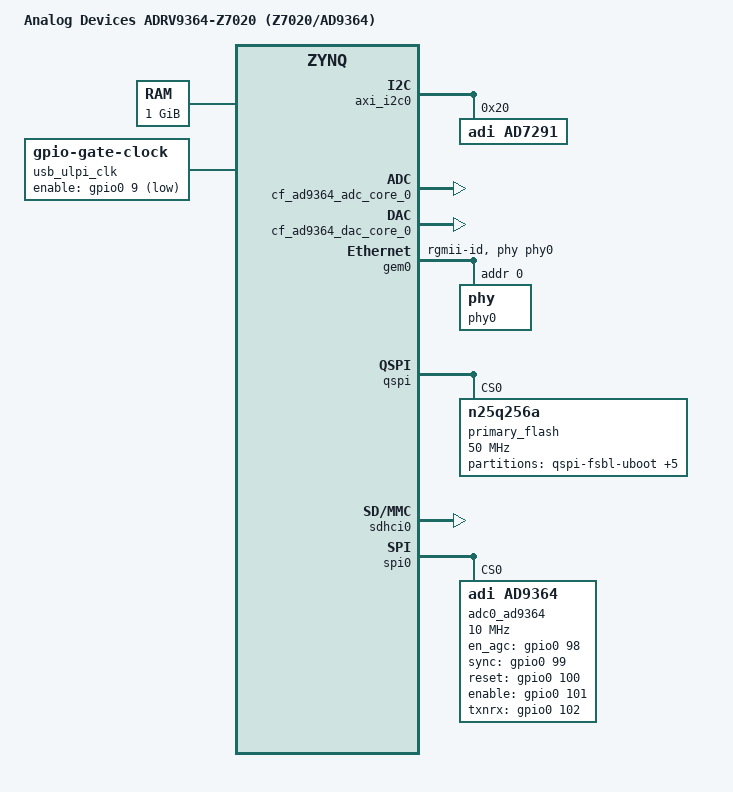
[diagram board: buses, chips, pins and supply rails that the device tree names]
/*
 * Analog Devices ADRV9364-Z7020 board DTS (Z7020/AD9364 SOM)
 *
 * Copyright (C) 2016-2017 Analog Devices Inc.
 *
 * Licensed under the GPL-2.
 */
#include "zynq.dtsi"

#include <dt-bindings/interrupt-controller/irq.h>

/ {
	model = "Analog Devices ADRV9364-Z7020 (Z7020/AD9364)";
	memory {
		device_type = "memory";
		reg = <0x00000000 0x40000000>;
	};

	chosen {
		stdout-path = "/amba@0/uart@E0001000";
	};

	clocks {
		ad9364_clkin: clock@0 {
			#clock-cells = <0>;
			compatible = "adjustable-clock";
			clock-frequency = <40000000>;
			clock-accuracy = <200000>; /* 200 ppm (ppb) */
			clock-output-names = "ad9364_ext_refclk";
		};

		usb_ulpi_fixed_clk: clock@1 {
			#clock-cells = <0>;
			compatible = "fixed-clock";
			clock-frequency = <24000000>;
			clock-output-names = "24MHz";
		};
	};

	usb_ulpi_clk: usb-ulpi-gpio-gate@0 {
		compatible = "gpio-gate-clock";
		clocks = <&usb_ulpi_fixed_clk>;
		#clock-cells = <0>;
		enable-gpios = <&gpio0 9 1>; /* Active  Low */
	};

};

&gem0 {
	phy-handle = <&phy0>;
	phy-mode = "rgmii-id";

	phy0: phy@0 {
		device_type = "ethernet-phy";
		reg = <0x0>;
		marvell,reg-init = <3 16 0xff00 0x1e 3 17 0xfff0 0x00>;
	};
};

&usb0 {
	xlnx,phy-reset-gpio = <&gpio0 7 0>;
};

&qspi {
	status = "okay";
	is-dual = <0>;
	num-cs = <1>;
	primary_flash: ps7-qspi@0 {
		#address-cells = <1>;
		#size-cells = <1>;
		spi-tx-bus-width = <1>;
		spi-rx-bus-width = <4>;
		compatible = "n25q256a", "jedec,spi-nor"; /* same as S25FL256 */
		reg = <0x0>;
		spi-max-frequency = <50000000>;
		partition@qspi-fsbl-uboot {
			label = "qspi-fsbl-uboot";
			reg = <0x0 0xE0000>; /* 896k */
		};
		partition@qspi-uboot-env {
			label = "qspi-uboot-env";
			reg = <0xE0000 0x20000>; /* 128k */
		};
		partition@qspi-linux {
			label = "qspi-linux";
			reg = <0x100000 0x500000>; /* 5M */
		};
		partition@qspi-device-tree {
			label = "qspi-device-tree";
			reg = <0x600000 0x20000>; /* 128k */
		};
		partition@qspi-rootfs {
			label = "qspi-rootfs";
			reg = <0x620000 0xCE0000>; /* 12875k */
		};
		partition@qspi-bitstream {
			label = "qspi-bitstream";
			reg = <0x1300000 0xD00000>; /* 13 M */
		};
	};
};

&sdhci0 {
	status = "okay";
	disable-wp;
};

/ {
	fpga_axi: fpga-axi@0 {
		compatible = "simple-bus";
		#address-cells = <0x1>;
		#size-cells = <0x1>;
		ranges;

		axi_i2c0: i2c@41600000 {
			compatible = "xlnx,axi-iic-1.02.a", "xlnx,xps-iic-2.00.a";
			reg = <0x41600000 0x10000>;
			interrupt-parent = <&intc>;
			interrupts = <0 58 4>;
			clocks = <&clkc 15>;
			clock-names = "pclk";

			#address-cells = <1>;
			#size-cells = <0>;

			ad7291@20 {
				compatible = "adi,ad7291";
				reg = <0x20>;
			};
		};

		rx_dma: dma@7c400000 {
			compatible = "adi,axi-dmac-1.00.a";
			reg = <0x7c400000 0x10000>;
			#dma-cells = <1>;
			interrupts = <0 57 IRQ_TYPE_LEVEL_HIGH>;
			clocks = <&clkc 16>;

			adi,channels {
				#size-cells = <0>;
				#address-cells = <1>;

				dma-channel@0 {
					reg = <0>;
					adi,source-bus-width = <64>;
					adi,source-bus-type = <2>;
					adi,destination-bus-width = <64>;
					adi,destination-bus-type = <0>;
				};
			};
		};

		tx_dma: dma@7c420000 {
			compatible = "adi,axi-dmac-1.00.a";
			reg = <0x7c420000 0x10000>;
			#dma-cells = <1>;
			interrupts = <0 56 IRQ_TYPE_LEVEL_HIGH>;
			clocks = <&clkc 16>;

			adi,channels {
				#size-cells = <0>;
				#address-cells = <1>;

				dma-channel@0 {
					reg = <0>;
					adi,source-bus-width = <64>;
					adi,source-bus-type = <0>;
					adi,destination-bus-width = <64>;
					adi,destination-bus-type = <2>;
				};
			};
		};

		cf_ad9364_adc_core_0: cf-ad9361-lpc@79020000 {
			compatible = "adi,axi-ad9361-6.00.a";
			reg = <0x79020000 0x6000>;
			dmas = <&rx_dma 0>;
			dma-names = "rx";
			spibus-connected = <&adc0_ad9364>;
		};

		cf_ad9364_dac_core_0: cf-ad9361-dds-core-lpc@79024000 {
			compatible = "adi,axi-ad9364-dds-6.00.a";
			reg = <0x79024000 0x1000>;
			clocks = <&adc0_ad9364 13>;
			clock-names = "sampl_clk";
			dmas = <&tx_dma 0>;
			dma-names = "tx";
		};

		mwipcore@43c00000 {
			compatible = "mathworks,mwipcore-axi4lite-v1.00";
			reg = <0x43c00000 0xffff>;
		};

		axi_sysid_0: axi-sysid-0@45000000 {
			compatible = "adi,axi-sysid-1.00.a";
			reg = <0x45000000 0x10000>;
		};
	};
};

&spi0 {
	status = "okay";

	adc0_ad9364: ad9361-phy@0 {
		#address-cells = <1>;
		#size-cells = <0>;
		#clock-cells = <1>;
		compatible = "adi,ad9364";

		/* SPI Setup */
		reg = <0>;
		spi-cpha;
		spi-max-frequency = <10000000>;

		/* Clocks */
		clocks = <&ad9364_clkin 0>;
		clock-names = "ad9364_ext_refclk";
		clock-output-names = "rx_sampl_clk", "tx_sampl_clk";

		/* Digital Interface Control */

		 /* adi,digital-interface-tune-skip-mode:
		  * 0 = TUNE RX&TX
		  * 1 = SKIP TX
		  * 2 = SKIP ALL
		  */
		adi,digital-interface-tune-skip-mode = <0>;

		adi,pp-tx-swap-enable;
		adi,pp-rx-swap-enable;
		adi,rx-frame-pulse-mode-enable;
		adi,lvds-mode-enable;
		adi,lvds-bias-mV = <150>;
		adi,lvds-rx-onchip-termination-enable;
		adi,rx-data-delay = <4>;
		adi,tx-fb-clock-delay = <7>;

		adi,xo-disable-use-ext-refclk-enable;

		/* Mode Setup */

		//adi,split-gain-table-mode-enable;

		/* ENSM Mode */
		adi,frequency-division-duplex-mode-enable;
		//adi,ensm-enable-pin-pulse-mode-enable;
		//adi,ensm-enable-txnrx-control-enable;


		/* adi,rx-rf-port-input-select:
		 * 0 = (RX1A_N &  RX1A_P) and (RX2A_N & RX2A_P) enabled; balanced
		 * 1 = (RX1B_N &  RX1B_P) and (RX2B_N & RX2B_P) enabled; balanced
		 * 2 = (RX1C_N &  RX1C_P) and (RX2C_N & RX2C_P) enabled; balanced
		 *
		 * 3 = RX1A_N and RX2A_N enabled; unbalanced
		 * 4 = RX1A_P and RX2A_P enabled; unbalanced
		 * 5 = RX1B_N and RX2B_N enabled; unbalanced
		 * 6 = RX1B_P and RX2B_P enabled; unbalanced
		 * 7 = RX1C_N and RX2C_N enabled; unbalanced
		 * 8 = RX1C_P and RX2C_P enabled; unbalanced
		 */

		adi,rx-rf-port-input-select = <0>; /* (RX1A_N &  RX1A_P) and (RX2A_N & RX2A_P) enabled; balanced */

		/* adi,tx-rf-port-input-select:
		 * 0	TX1A, TX2A
		 * 1	TX1B, TX2B
		 */

		adi,tx-rf-port-input-select = <0>; /* TX1A, TX2A */
		//adi,update-tx-gain-in-alert-enable;
		adi,tx-attenuation-mdB = <10000>;
		adi,tx-lo-powerdown-managed-enable;

		adi,rf-rx-bandwidth-hz = <18000000>;
		adi,rf-tx-bandwidth-hz = <18000000>;
		adi,rx-synthesizer-frequency-hz = /bits/ 64 <2400000000>;
		adi,tx-synthesizer-frequency-hz = /bits/ 64 <2450000000>;

		/*				BBPLL     ADC        R2CLK     R1CLK    CLKRF    RSAMPL  */
		adi,rx-path-clock-frequencies = <983040000 245760000 122880000 61440000 30720000 30720000>;
		/*				BBPLL     DAC        T2CLK     T1CLK    CLKTF    TSAMPL  */
		adi,tx-path-clock-frequencies = <983040000 122880000 122880000 61440000 30720000 30720000>;

		/* Gain Control */

		/* adi,gc-rx[1|2]-mode:
		 * 0 = RF_GAIN_MGC
		 * 1 = RF_GAIN_FASTATTACK_AGC
		 * 2 = RF_GAIN_SLOWATTACK_AGC
		 * 3 = RF_GAIN_HYBRID_AGC
		 */

		adi,gc-rx1-mode = <2>;
		adi,gc-rx2-mode = <2>;
		adi,gc-adc-ovr-sample-size = <4>; /* sum 4 samples */
		adi,gc-adc-small-overload-thresh = <47>; /* sum of squares */
		adi,gc-adc-large-overload-thresh = <58>; /* sum of squares */
		adi,gc-lmt-overload-high-thresh = <800>; /* mV */
		adi,gc-lmt-overload-low-thresh = <704>; /* mV */
		adi,gc-dec-pow-measurement-duration = <8192>; /* 0..524288 Samples */
		adi,gc-low-power-thresh = <24>; /* 0..-64 dBFS vals are set pos */
		//adi,gc-dig-gain-enable;
		//adi,gc-max-dig-gain = <15>;

		/* Manual Gain Control Setup */

		//adi,mgc-rx1-ctrl-inp-enable; /* uncomment to use ctrl inputs */
		//adi,mgc-rx2-ctrl-inp-enable; /* uncomment to use ctrl inputs */
		adi,mgc-inc-gain-step = <2>;
		adi,mgc-dec-gain-step = <2>;

		/* adi,mgc-split-table-ctrl-inp-gain-mode:
		 * (relevant if adi,split-gain-table-mode-enable is set)
		 * 0 = AGC determine this
		 * 1 = only in LPF
		 * 2 = only in LMT
		 */

		adi,mgc-split-table-ctrl-inp-gain-mode = <0>;

		/* Automatic Gain Control Setup */

		adi,agc-attack-delay-extra-margin-us= <1>; /* us */
		adi,agc-outer-thresh-high = <5>; /* -dBFS */
		adi,agc-outer-thresh-high-dec-steps = <2>; /* 0..15 */
		adi,agc-inner-thresh-high = <10>; /* -dBFS */
		adi,agc-inner-thresh-high-dec-steps = <1>; /* 0..7 */
		adi,agc-inner-thresh-low = <12>; /* -dBFS */
		adi,agc-inner-thresh-low-inc-steps = <1>; /* 0..7 */
		adi,agc-outer-thresh-low = <18>; /* -dBFS */
		adi,agc-outer-thresh-low-inc-steps = <2>; /* 0..15 */

		adi,agc-adc-small-overload-exceed-counter = <10>; /* 0..15 */
		adi,agc-adc-large-overload-exceed-counter = <10>; /* 0..15 */
		adi,agc-adc-large-overload-inc-steps = <2>; /* 0..15 */
		//adi,agc-adc-lmt-small-overload-prevent-gain-inc-enable;
		adi,agc-lmt-overload-large-exceed-counter = <10>; /* 0..15 */
		adi,agc-lmt-overload-small-exceed-counter = <10>; /* 0..15 */
		adi,agc-lmt-overload-large-inc-steps = <2>; /* 0..7 */
		//adi,agc-dig-saturation-exceed-counter = <3>; /* 0..15 */
		//adi,agc-dig-gain-step-size = <4>; /* 1..8 */

		//adi,agc-sync-for-gain-counter-enable;
		adi,agc-gain-update-interval-us = <1000>;  /* 1ms */
		//adi,agc-immed-gain-change-if-large-adc-overload-enable;
		//adi,agc-immed-gain-change-if-large-lmt-overload-enable;

		/* Fast AGC */

		adi,fagc-dec-pow-measurement-duration = <64>; /* 64 Samples */
                //adi,fagc-allow-agc-gain-increase-enable;
                adi,fagc-lp-thresh-increment-steps = <1>;
                adi,fagc-lp-thresh-increment-time = <5>;

                adi,fagc-energy-lost-stronger-sig-gain-lock-exit-cnt = <8>;
                adi,fagc-final-overrange-count = <3>;
                //adi,fagc-gain-increase-after-gain-lock-enable;
                adi,fagc-gain-index-type-after-exit-rx-mode = <0>;
                adi,fagc-lmt-final-settling-steps = <1>;
                adi,fagc-lock-level = <10>;
                adi,fagc-lock-level-gain-increase-upper-limit = <5>;
                adi,fagc-lock-level-lmt-gain-increase-enable;

                adi,fagc-lpf-final-settling-steps = <1>;
                adi,fagc-optimized-gain-offset = <5>;
                adi,fagc-power-measurement-duration-in-state5 = <64>;
                adi,fagc-rst-gla-engergy-lost-goto-optim-gain-enable;
                adi,fagc-rst-gla-engergy-lost-sig-thresh-below-ll = <10>;
                adi,fagc-rst-gla-engergy-lost-sig-thresh-exceeded-enable;
                adi,fagc-rst-gla-if-en-agc-pulled-high-mode = <0>;
                adi,fagc-rst-gla-large-adc-overload-enable;
                adi,fagc-rst-gla-large-lmt-overload-enable;
                adi,fagc-rst-gla-stronger-sig-thresh-above-ll = <10>;
                adi,fagc-rst-gla-stronger-sig-thresh-exceeded-enable;
                adi,fagc-state-wait-time-ns = <260>;
                adi,fagc-use-last-lock-level-for-set-gain-enable;

		/* RSSI */

		/* adi,rssi-restart-mode:
		 * 0 = AGC_IN_FAST_ATTACK_MODE_LOCKS_THE_GAIN,
		 * 1 = EN_AGC_PIN_IS_PULLED_HIGH,
		 * 2 = ENTERS_RX_MODE,
		 * 3 = GAIN_CHANGE_OCCURS,
		 * 4 = SPI_WRITE_TO_REGISTER,
		 * 5 = GAIN_CHANGE_OCCURS_OR_EN_AGC_PIN_PULLED_HIGH,
		 */
		adi,rssi-restart-mode = <3>;
		//adi,rssi-unit-is-rx-samples-enable;
		adi,rssi-delay = <1>; /* 1us */
		adi,rssi-wait = <1>; /* 1us */
		adi,rssi-duration = <1000>; /* 1ms */

		/* Control Outputs */
		adi,ctrl-outs-index = <0>;
		adi,ctrl-outs-enable-mask = <0xFF>;

		/* AuxADC Temp Sense Control */

		adi,temp-sense-measurement-interval-ms = <1000>;
		adi,temp-sense-offset-signed = <0xCE>;
		adi,temp-sense-periodic-measurement-enable;

		/* AuxDAC Control */

		adi,aux-dac-manual-mode-enable;

		adi,aux-dac1-default-value-mV = <0>;
		//adi,aux-dac1-active-in-rx-enable;
		//adi,aux-dac1-active-in-tx-enable;
		//adi,aux-dac1-active-in-alert-enable;
		adi,aux-dac1-rx-delay-us = <0>;
		adi,aux-dac1-tx-delay-us = <0>;

		adi,aux-dac2-default-value-mV = <0>;
		//adi,aux-dac2-active-in-rx-enable;
		//adi,aux-dac2-active-in-tx-enable;
		//adi,aux-dac2-active-in-alert-enable;
		adi,aux-dac2-rx-delay-us = <0>;
		adi,aux-dac2-tx-delay-us = <0>;

		/* Control GPIOs */

		en_agc-gpios = <&gpio0 98 0>;
		sync-gpios = <&gpio0 99 0>;
		reset-gpios = <&gpio0 100 0>;
		enable-gpios = <&gpio0 101 0>;
		txnrx-gpios = <&gpio0 102 0>;
	};
};
